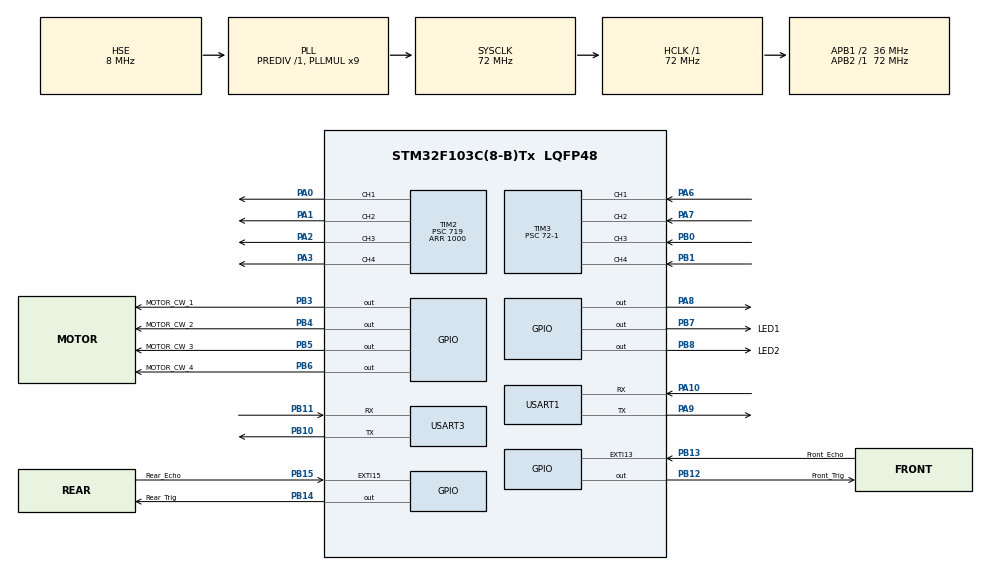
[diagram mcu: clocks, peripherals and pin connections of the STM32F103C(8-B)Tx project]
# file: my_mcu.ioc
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Dma.Request0=USART3_RX
Dma.Request1=USART3_TX
Dma.USART3_RX.0.Direction=DMA_PERIPH_TO_MEMORY
Dma.USART3_RX.0.Instance=DMA1_Channel3
Dma.USART3_RX.0.MemDataAlignment=DMA_MDATAALIGN_BYTE
Dma.USART3_RX.0.MemInc=DMA_MINC_ENABLE
Dma.USART3_RX.0.Mode=DMA_NORMAL
Dma.USART3_RX.0.PeriphDataAlignment=DMA_PDATAALIGN_BYTE
Dma.USART3_RX.0.PeriphInc=DMA_PINC_DISABLE
Dma.USART3_RX.0.Priority=DMA_PRIORITY_LOW
Dma.USART3_TX.1.Direction=DMA_MEMORY_TO_PERIPH
Dma.USART3_TX.1.Instance=DMA1_Channel2
Dma.USART3_TX.1.MemDataAlignment=DMA_MDATAALIGN_BYTE
Dma.USART3_TX.1.MemInc=DMA_MINC_ENABLE
Dma.USART3_TX.1.Mode=DMA_NORMAL
Dma.USART3_TX.1.PeriphDataAlignment=DMA_PDATAALIGN_BYTE
Dma.USART3_TX.1.PeriphInc=DMA_PINC_DISABLE
Dma.USART3_TX.1.Priority=DMA_PRIORITY_LOW
Mcu.Family=STM32F1
Mcu.Name=STM32F103C(8-B)Tx
Mcu.Package=LQFP48
NVIC.DMA1_Channel2_IRQn=true\:0\:0\:false\:false\:true\:false\:true
NVIC.DMA1_Channel3_IRQn=true\:0\:0\:false\:false\:true\:false\:true
NVIC.EXTI15_10_IRQn=true\:0\:0\:false\:false\:true\:true\:true
NVIC.PriorityGroup=NVIC_PRIORITYGROUP_4
NVIC.TIM1_UP_IRQn=true\:0\:0\:false\:false\:true\:true\:true
NVIC.TIM2_IRQn=true\:0\:0\:false\:false\:true\:true\:true
NVIC.TIM3_IRQn=true\:0\:0\:false\:false\:true\:true\:true
NVIC.USART1_IRQn=true\:0\:0\:false\:false\:true\:true\:true
NVIC.USART3_IRQn=true\:0\:0\:false\:false\:true\:true\:true
PA0-WKUP.Signal=S_TIM2_CH1_ETR
PA1.Signal=S_TIM2_CH2
PA10.Mode=Asynchronous
PA10.Signal=USART1_RX
PA13.Mode=Serial_Wire
PA13.Signal=SYS_JTMS-SWDIO
PA14.Mode=Serial_Wire
PA14.Signal=SYS_JTCK-SWCLK
PA2.Signal=S_TIM2_CH3
PA3.Signal=S_TIM2_CH4
PA6.Signal=S_TIM3_CH1
PA7.Signal=S_TIM3_CH2
PA8.Signal=GPIO_Output
PA9.Mode=Asynchronous
PA9.Signal=USART1_TX
PB0.Signal=S_TIM3_CH3
PB1.Signal=S_TIM3_CH4
PB10.Mode=Asynchronous
PB10.Signal=USART3_TX
PB11.Mode=Asynchronous
PB11.Signal=USART3_RX
PB12.GPIO_Label=Front_Trig
PB12.GPIO_PuPd=GPIO_PULLDOWN
PB12.Signal=GPIO_Output
PB13.GPIO_Label=Front_Echo
PB13.GPIO_ModeDefaultEXTI=GPIO_MODE_IT_RISING_FALLING
PB13.GPIO_PuPd=GPIO_PULLDOWN
PB13.Signal=GPXTI13
PB14.GPIO_Label=Rear_Trig
PB14.GPIO_PuPd=GPIO_PULLDOWN
PB14.Signal=GPIO_Output
PB15.GPIO_Label=Rear_Echo
PB15.GPIO_ModeDefaultEXTI=GPIO_MODE_IT_RISING
PB15.GPIO_PuPd=GPIO_PULLDOWN
PB15.Signal=GPXTI15
PB3.GPIO_Label=MOTOR_CW_1
PB3.GPIO_PuPd=GPIO_PULLUP
PB3.GPIO_Speed=GPIO_SPEED_FREQ_MEDIUM
PB3.PinState=GPIO_PIN_SET
PB3.Signal=GPIO_Output
PB4.GPIO_Label=MOTOR_CW_2
PB4.GPIO_PuPd=GPIO_PULLUP
PB4.GPIO_Speed=GPIO_SPEED_FREQ_MEDIUM
PB4.PinState=GPIO_PIN_SET
PB4.Signal=GPIO_Output
PB5.GPIO_Label=MOTOR_CW_3
PB5.GPIO_PuPd=GPIO_PULLUP
PB5.GPIO_Speed=GPIO_SPEED_FREQ_MEDIUM
PB5.PinState=GPIO_PIN_SET
PB5.Signal=GPIO_Output
PB6.GPIO_Label=MOTOR_CW_4
PB6.GPIO_PuPd=GPIO_PULLUP
PB6.GPIO_Speed=GPIO_SPEED_FREQ_MEDIUM
PB6.PinState=GPIO_PIN_SET
PB6.Signal=GPIO_Output
PB7.GPIO_Label=LED1
PB7.Signal=GPIO_Output
PB8.GPIO_Label=LED2
PB8.Signal=GPIO_Output
PD0-OSC_IN.Mode=HSE-External-Oscillator
PD0-OSC_IN.Signal=RCC_OSC_IN
PD1-OSC_OUT.Mode=HSE-External-Oscillator
PD1-OSC_OUT.Signal=RCC_OSC_OUT
ProjectManager.HeapSize=0x200
ProjectManager.StackSize=0x400
ProjectManager.TargetToolchain=MDK-ARM V5.32
RCC.AHBFreq_Value=72000000
RCC.APB1CLKDivider=RCC_HCLK_DIV2
RCC.APB1Freq_Value=36000000
RCC.APB1TimFreq_Value=72000000
RCC.APB2Freq_Value=72000000
RCC.APB2TimFreq_Value=72000000
RCC.HCLKFreq_Value=72000000
RCC.PLLMUL=RCC_PLL_MUL9
RCC.PLLSourceVirtual=RCC_PLLSOURCE_HSE
RCC.SYSCLKFreq_VALUE=72000000
RCC.SYSCLKSource=RCC_SYSCLKSOURCE_PLLCLK
RCC.USBFreq_Value=72000000
SH.S_TIM2_CH1_ETR.0=TIM2_CH1,PWM Generation1 CH1
SH.S_TIM2_CH2.0=TIM2_CH2,PWM Generation2 CH2
SH.S_TIM2_CH3.0=TIM2_CH3,PWM Generation3 CH3
SH.S_TIM2_CH4.0=TIM2_CH4,PWM Generation4 CH4
SH.S_TIM3_CH1.0=TIM3_CH1,Input_Capture1_from_TI1
SH.S_TIM3_CH2.0=TIM3_CH2,Input_Capture2_from_TI2
SH.S_TIM3_CH3.0=TIM3_CH3,Input_Capture3_from_TI3
SH.S_TIM3_CH4.0=TIM3_CH4,Input_Capture4_from_TI4
TIM1.AutoReloadPreload=TIM_AUTORELOAD_PRELOAD_DISABLE
TIM1.Period=65535
TIM1.Prescaler=71
TIM2.Channel-PWM\ Generation1\ CH1=TIM_CHANNEL_1
TIM2.Channel-PWM\ Generation2\ CH2=TIM_CHANNEL_2
TIM2.Channel-PWM\ Generation3\ CH3=TIM_CHANNEL_3
TIM2.Channel-PWM\ Generation4\ CH4=TIM_CHANNEL_4
TIM2.Period=1000
TIM2.Prescaler=719
TIM3.AutoReloadPreload=TIM_AUTORELOAD_PRELOAD_ENABLE
TIM3.Channel-Input_Capture1_from_TI1=TIM_CHANNEL_1
TIM3.Channel-Input_Capture2_from_TI2=TIM_CHANNEL_2
TIM3.Channel-Input_Capture3_from_TI3=TIM_CHANNEL_3
TIM3.Channel-Input_Capture4_from_TI4=TIM_CHANNEL_4
TIM3.Prescaler=72-1
USART1.VirtualMode=VM_ASYNC
USART3.VirtualMode=VM_ASYNC
VP_TIM1_VS_ClockSourceINT.Mode=Internal
VP_TIM2_VS_ClockSourceINT.Mode=Internal
VP_TIM3_VS_ClockSourceINT.Mode=Internal
board=custom

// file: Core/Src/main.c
/* USER CODE BEGIN Header */
/**
  ******************************************************************************
  * @file           : main.c
  * @brief          : Main program body
  ******************************************************************************
  * @attention
  *
  * Copyright (c) 2025 STMicroelectronics.
  * All rights reserved.
  *
  * This software is licensed under terms that can be found in the LICENSE file
  * in the root directory of this software component.
  * If no LICENSE file comes with this software, it is provided AS-IS.
  *
  ******************************************************************************
  */
/* USER CODE END Header */
#include "main.h"
#include "dma.h"
#include "tim.h"
#include "usart.h"
#include "gpio.h"

/* USER CODE BEGIN Includes */
#include "motor.h"
#include "HC_SR04.h"
/* USER CODE END Includes */

/* USER CODE BEGIN PTD */

uint8_t g_ControlMotorFlag = CONTROL_MOTOR_IDLE;	//控制电机标志位,0:默认,1:控制电机前进后退，2：控制电机转向，3：控制电机停止
uint8_t rx_buffer[MAXSIZE];							//接收数组
volatile uint8_t rx_len = 0; 						//接收到的数据长度
volatile uint8_t recv_end_flag = 0; 				//接收结束标志位

uint32_t Motor1_Number_Of_Pulses = 0;
uint32_t Motor2_Number_Of_Pulses = 0;
uint32_t Motor3_Number_Of_Pulses = 0;
uint32_t Motor4_Number_Of_Pulses = 0;
uint32_t Motor_channel = 0;

uint32_t rising_count = 0;
uint32_t falling_count = 0;

IC_STATE ic_state[4];	  /* 定义结构体变量 */

/* USER CODE END PTD */

void SystemClock_Config(void);

int main(void)
{

  /* MCU Configuration--------------------------------------------------------*/

  /* Reset of all peripherals, Initializes the Flash interface and the Systick. */
  HAL_Init();

  /* Configure the system clock */
  SystemClock_Config();

  /* Initialize all configured peripherals */
  MX_GPIO_Init();
  MX_TIM2_Init();
  MX_USART1_UART_Init();
  MX_DMA_Init();
  MX_USART3_UART_Init();
  MX_TIM3_Init();
  MX_TIM1_Init();
  /* USER CODE BEGIN 2 */
  	HAL_TIM_Base_Start_IT(&htim1);        	// 启动定时器1基础功能
	__HAL_UART_ENABLE_IT(&huart3, UART_IT_IDLE);
	HAL_UART_Receive_DMA(&huart3,rx_buffer,MAXSIZE);

	HAL_TIM_Base_Start_IT(&htim3);
	HAL_TIM_IC_Start_IT(&htim3,TIM_CHANNEL_1);
	HAL_TIM_IC_Start_IT(&htim3,TIM_CHANNEL_2);
	HAL_TIM_IC_Start_IT(&htim3,TIM_CHANNEL_3);
	printf("[MAIN] motor ble car systerm init!\r\n");
	HAL_TIM_PWM_Start(&htim2,TIM_CHANNEL_1);
	HAL_TIM_PWM_Start(&htim2,TIM_CHANNEL_2);
	HAL_TIM_PWM_Start(&htim2,TIM_CHANNEL_3);

	printf("[MAIN] while process init!\r\n");
  /* USER CODE END 2 */

  /* Infinite loop */
  /* USER CODE BEGIN WHILE */
  while (1)
  {
		my_motor_control_protocol_analysis();
		my_motor_control_task();
//		Ultrasonic_Task_Handler();				//超声波测量前后距离task
    /* USER CODE END WHILE */

  }
}

void SystemClock_Config(void)
{
  RCC_OscInitTypeDef RCC_OscInitStruct = {0};
  RCC_ClkInitTypeDef RCC_ClkInitStruct = {0};

  /** Initializes the RCC Oscillators according to the specified parameters
  * in the RCC_OscInitTypeDef structure.
  */
  RCC_OscInitStruct.OscillatorType = RCC_OSCILLATORTYPE_HSE;
  RCC_OscInitStruct.HSEState = RCC_HSE_ON;
  RCC_OscInitStruct.HSEPredivValue = RCC_HSE_PREDIV_DIV1;
  RCC_OscInitStruct.HSIState = RCC_HSI_ON;
  RCC_OscInitStruct.PLL.PLLState = RCC_PLL_ON;
  RCC_OscInitStruct.PLL.PLLSource = RCC_PLLSOURCE_HSE;
  RCC_OscInitStruct.PLL.PLLMUL = RCC_PLL_MUL9;
  if (HAL_RCC_OscConfig(&RCC_OscInitStruct) != HAL_OK)
  {
    Error_Handler();
  }
  /** Initializes the CPU, AHB and APB buses clocks
  */
  RCC_ClkInitStruct.ClockType = RCC_CLOCKTYPE_HCLK|RCC_CLOCKTYPE_SYSCLK
                              |RCC_CLOCKTYPE_PCLK1|RCC_CLOCKTYPE_PCLK2;
  RCC_ClkInitStruct.SYSCLKSource = RCC_SYSCLKSOURCE_PLLCLK;
  RCC_ClkInitStruct.AHBCLKDivider = RCC_SYSCLK_DIV1;
  RCC_ClkInitStruct.APB1CLKDivider = RCC_HCLK_DIV2;
  RCC_ClkInitStruct.APB2CLKDivider = RCC_HCLK_DIV1;

  if (HAL_RCC_ClockConfig(&RCC_ClkInitStruct, FLASH_LATENCY_2) != HAL_OK)
  {
    Error_Handler();
  }
}

void Error_Handler(void)
{
  __disable_irq();
  while (1)
  {
  }
}
